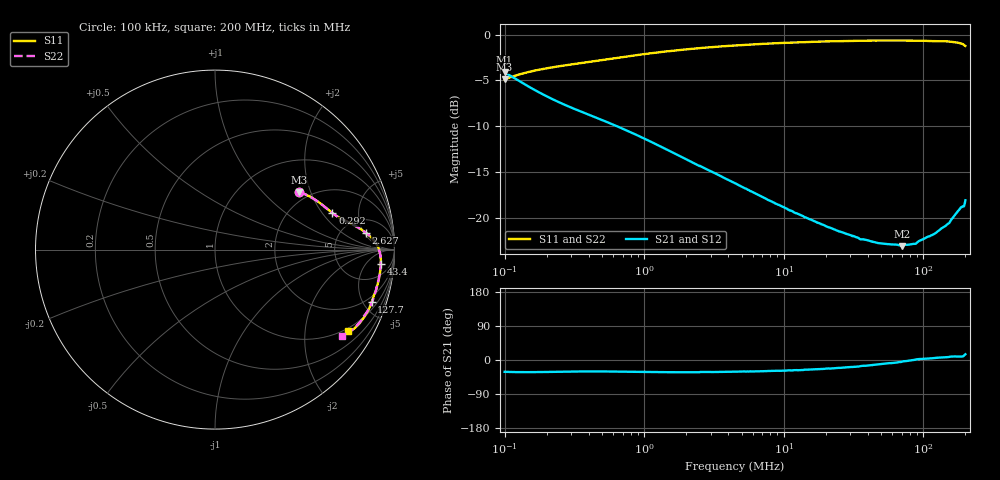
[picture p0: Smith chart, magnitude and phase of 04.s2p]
#  HZ  S  RI  R  50.00
! Rohde & Schwarz Vector Network Analyzer
! Rohde-Schwarz,ZNLE6-2Port,1323001256200024,1.71.1.10-23.02.1.238
! Created: UTC 4/7/2025, 9:50:51 AM
! freq[Hz]  re:S11  im:S11  re:S21  im:S21  re:S12  im:S12  re:S22  im:S22
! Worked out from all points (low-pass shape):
!   1001 points, 100 kHz to 200 MHz, reference 50 ohm
!   highest |S21| = -4.11 dB at 100 kHz (marker M1); lowest = -23.1 dB at 70.06 MHz (marker M2)
!   |S21| within 3 dB of the highest: start of sweep to 225.5 kHz
!   lowest |S11| = -4.9 dB at 100 kHz (marker M3), VSWR 3.65, Z = 87.9 + j83.7 ohm
!   |S11| at or under -10 dB: nowhere
!   |S22| runs from -4.9 to -0.6 dB; largest |S21 - S12| = 0.0051
!   S11 on the Smith chart (normalised r, x): 100 kHz: 1.76, +1.67; 292 kHz: 3.30, +2.53; 2.627 MHz: 8, +5; 43.4 MHz: 11, -13; 127.7 MHz: 1.51, -5.76; 200 MHz: 0.91, -3.32
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100000  0.4702 0.3218  0.5327 -0.3224  0.5337 -0.3225  0.4694 0.3216
131473.2  0.5367 0.2908  0.4658 -0.2918  0.4668 -0.292  0.536 0.2908
163895.5  0.5788 0.2634  0.4235 -0.2645  0.4245 -0.2647  0.5782 0.2635
213846.9  0.6183 0.2326  0.3839 -0.2339  0.3848 -0.2341  0.6177 0.2328
292041.9  0.6542 0.2035  0.3477 -0.2047  0.3486 -0.2051  0.6537 0.2037
355854.1  0.674 0.1893  0.328 -0.1906  0.3287 -0.1908  0.6736 0.1894
710666.3  0.7393 0.1539  0.2626 -0.1564  0.2631 -0.1568  0.7389 0.1539
1266322  0.79 0.1277  0.211 -0.1318  0.2113 -0.1321  0.7896 0.1276
2626896  0.8413 0.0922  0.1611 -0.0992  0.1585 -0.1025  0.8411 0.0945
4472136  0.8691 0.0689  0.1329 -0.0797  0.1308 -0.0814  0.8698 0.0701
1.591428e7  0.9125 0.00488  0.0884 -0.0413  0.0876 -0.0423  0.913 0.00256
3.535047e7  0.9231 -0.0589  0.0736 -0.0214  0.0727 -0.0237  0.923 -0.0631
4.340332e7  0.9239 -0.0822  0.0724 -0.0168  0.0716 -0.0199  0.9235 -0.0873
5.663162e7  0.9209 -0.1173  0.0712 -0.0107  0.0705 -0.0129  0.92 -0.1253
7.006286e7  0.9145 -0.152  0.0701 -0.00542  0.0698 -0.00808  0.9114 -0.1638
8.734091e7  0.9051 -0.1954  0.0724 0.000938  0.0727 -0.0015  0.8998 -0.2106
1.130974e8  0.8849 -0.2555  0.0802 0.00614  0.0807 0.00431  0.8804 -0.2789
1.27723e8  0.8731 -0.2918  0.0845 0.00903  0.0839 0.0066  0.8646 -0.3174
1.486928e8  0.8499 -0.3463  0.0919 0.0122  0.091 0.0101  0.8327 -0.3666
1.616595e8  0.829 -0.3787  0.0987 0.0161  0.0982 0.0121  0.8119 -0.3991
1.867759e8  0.7793 -0.437  0.1132 0.0176  0.1139 0.0132  0.7449 -0.4638
2e8  0.7399 -0.4518  0.1208 0.0327  0.1232 0.0282  0.7081 -0.48
